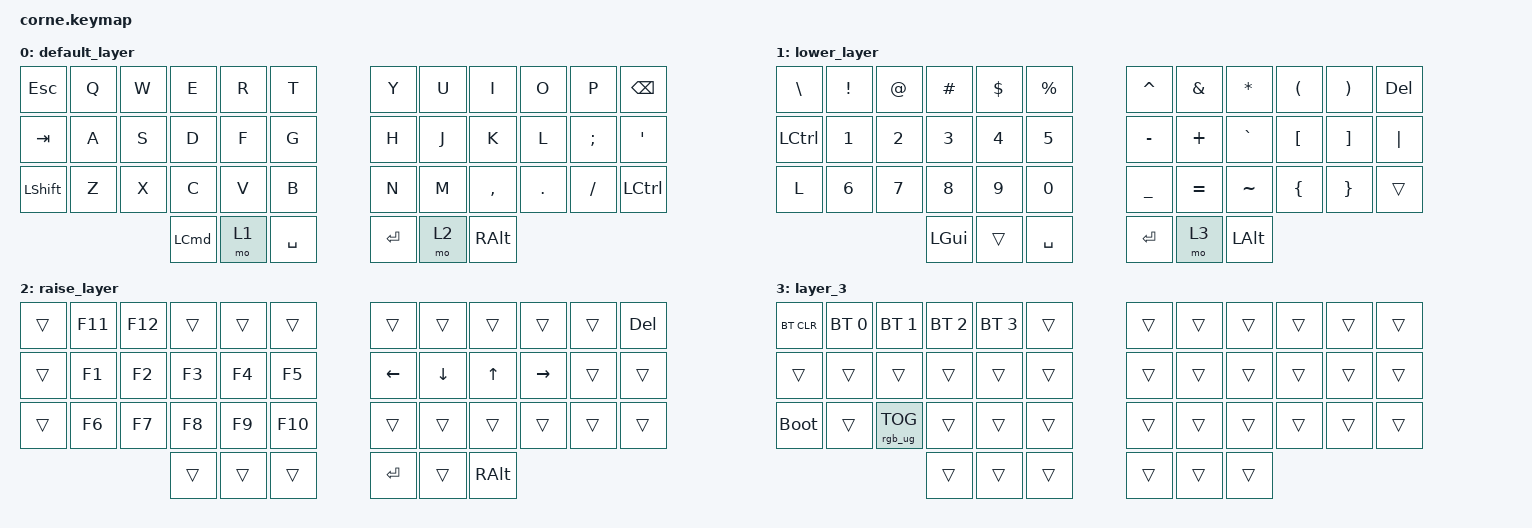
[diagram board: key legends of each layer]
/*
 * Copyright (c) 2020 The ZMK Contributors
 *
 * SPDX-License-Identifier: MIT
 */

#include <behaviors.dtsi>
#include <dt-bindings/zmk/bt.h>
#include <dt-bindings/zmk/keys.h>
#include <dt-bindings/zmk/rgb.h>

/ {
    behaviors {
        hm: homerow_mods {
            compatible = "zmk,behavior-hold-tap";
            label = "HOMEROW_MODS";
            #binding-cells = <2>;
            tapping-term-ms = <200>;
            quick_tap_ms = <0>;
            flavor = "tap-preferred";
            bindings = <&kp>, <&kp>;

            quick-tap-ms = <180>;
            global-quick-tap;
        };

        ltq: ltq {
            compatible = "zmk,behavior-hold-tap";
            label = "LTQ";
            bindings = <&mo>, <&kp>;

            #binding-cells = <2>;
            tapping-term-ms = <600>;
            global-quick-tap;
            quick-tap-ms = <400>;
        };
    };

    combos { compatible = "zmk,combos"; };

    keymap {
        compatible = "zmk,keymap";

        default_layer {
            bindings = <
&kp ESC         &kp Q  &kp W  &kp E     &kp R  &kp T      &kp Y      &kp U  &kp I          &kp O    &kp P     &kp BSPC
&kp TAB         &kp A  &kp S  &kp D     &kp F  &kp G      &kp H      &kp J  &kp K          &kp L    &kp SEMI  &kp APOS
&kp LEFT_SHIFT  &kp Z  &kp X  &kp C     &kp V  &kp B      &kp N      &kp M  &kp COMMA      &kp DOT  &kp FSLH  &kp LEFT_CONTROL
                              &kp LCMD  &mo 1  &kp SPACE  &kp ENTER  &mo 2  &kp RIGHT_ALT
            >;
        };

        lower_layer {
            bindings = <
&kp BSLH          &kp EXCLAMATION  &kp AT_SIGN   &kp HASH      &kp DOLLAR    &kp PERCENT  &kp CARET       &kp AMPERSAND  &kp ASTERISK  &kp LEFT_PARENTHESIS  &kp RIGHT_PARENTHESIS  &kp DEL
&kp LEFT_CONTROL  &kp NUMBER_1     &kp NUMBER_2  &kp NUMBER_3  &kp NUMBER_4  &kp N5       &kp MINUS       &kp PLUS       &kp GRAVE     &kp LEFT_BRACKET      &kp RIGHT_BRACKET      &kp PIPE
&kp L             &kp NUMBER_6     &kp N7        &kp N8        &kp N9        &kp N0       &kp UNDERSCORE  &kp EQUAL      &kp TILDE     &kp LEFT_BRACE        &kp RIGHT_BRACE        &trans
                                                 &kp LGUI      &trans        &kp SPACE    &kp ENTER       &mo 3          &kp LEFT_ALT
            >;
        };

        raise_layer {
            bindings = <
&trans  &kp F11  &kp F12  &trans  &trans  &trans   &trans    &trans    &trans    &trans     &trans  &kp DELETE
&trans  &kp F1   &kp F2   &kp F3  &kp F4  &kp F5   &kp LEFT  &kp DOWN  &kp UP    &kp RIGHT  &trans  &trans
&trans  &kp F6   &kp F7   &kp F8  &kp F9  &kp F10  &trans    &trans    &trans    &trans     &trans  &trans
                          &trans  &trans  &trans   &kp RET   &trans    &kp RALT
            >;
        };

        layer_3 {
            bindings = <
&bt BT_CLR   &bt BT_SEL 0  &bt BT_SEL 1     &bt BT_SEL 2  &bt BT_SEL 3  &trans  &trans  &trans  &trans  &trans  &trans  &trans
&trans       &trans        &trans           &trans        &trans        &trans  &trans  &trans  &trans  &trans  &trans  &trans
&bootloader  &trans        &rgb_ug RGB_TOG  &trans        &trans        &trans  &trans  &trans  &trans  &trans  &trans  &trans
                                            &trans        &trans        &trans  &trans  &trans  &trans
            >;
        };

        extra1 { status = "reserved"; };

        extra2 { status = "reserved"; };

        extra3 { status = "reserved"; };

        extra4 { status = "reserved"; };
    };
};
